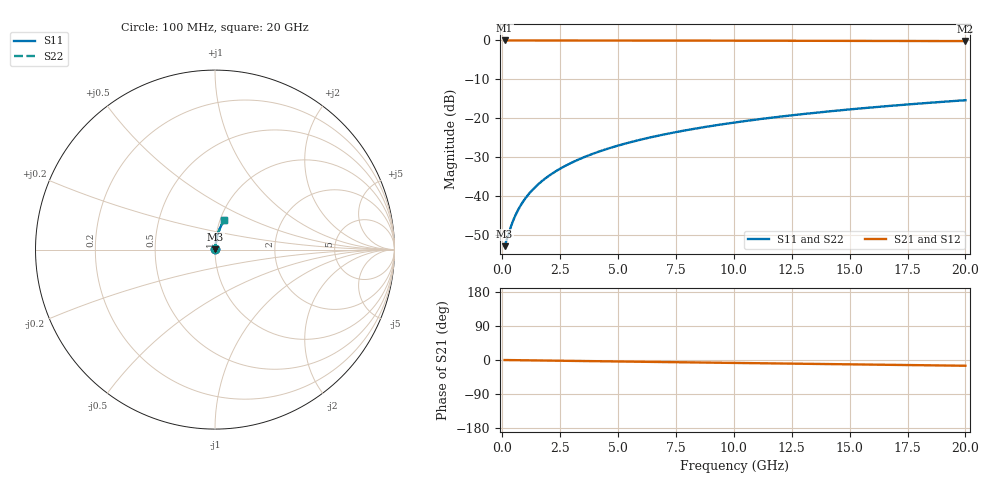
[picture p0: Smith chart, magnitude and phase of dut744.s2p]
! Touchstone file exported from HFSS 2026.1.0
!  File:  C:/ffzhzh/LocalFiles/Ansys_Project_Files/temp_train_TMRDL_744_1783155145_43440.aedt
!  Generated:  04:53:45 PM Jul  4, 2026
!  Design:  TMRDL
!  Project:  temp_train_TMRDL_744_1783155145_43440
! Variables:
!  h_bsmrdl = 2um
!  h_ox = 20um
!  h_rdl = 5um
!  h_sub = 80um
!  h_tmrdl = 2.93um
!  h_tsv = 80um
!  h_via = 3um
!  l_bsmrdl = 300um
!  l_sub = 584.22um
!  l_tmrdl = 184.22um
!  m_sub = 200um
!  pitch = 32.44um
!  r_tsv = 6um
!  s_tmrdl = 10um
!  w_bsmrdl = 18um
!  w_sub = 500um
!  w_tmrdl = 11.67um
!  x_tsv_center1 = 190.055um
!  x_tsv_center2 = 508.055um
!  x_tsv_center3 = 703.945um
!  x_tsv_center4 = 1021.945um
!  x_tsv_center5 = 1217.835um
!  x_tsv_center6 = 1535.835um
# GHz S MA R 50.000000
! Terminal data exported
! Port[1] = TM_RDL1_1_T1
! Port[2] = TM_RDL1_1_T2
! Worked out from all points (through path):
!   200 points, 100 MHz to 20 GHz, reference 50 ohm
!   highest |S21| = -0.02 dB at 100 MHz (marker M1); lowest = -0.2 dB at 20 GHz (marker M2)
!   group delay of S21, straight-line fit = 2.11 ps
!   lowest |S11| = -52.8 dB at 100 MHz (marker M3), VSWR 1.00, Z = 50.2 + j0.0955 ohm
!   |S11| at or under -10 dB: start of sweep to end of sweep
!   |S22| runs from -52.8 to -15.3 dB; largest |S21 - S12| = 3.1e-15
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0.1  0.002301 24.4  0.9979 -0.1  0.9979 -0.1  0.002301 24.4
! Gamma 0 0 0 0
! Port Impedance 50 0 50 0
0.3  0.003547 52.5  0.9978 -0.2  0.9978 -0.2  0.003547 52.5
0.4  0.004332 59.5  0.9978 -0.3  0.9978 -0.3  0.004331 59.5
0.5  0.005156 64.3  0.9978 -0.4  0.9978 -0.4  0.005156 64.3
0.6  0.006002 67.6  0.9977 -0.5  0.9977 -0.5  0.006002 67.6
0.7  0.00686 70.2  0.9977 -0.6  0.9977 -0.6  0.00686 70.2
0.9  0.008594 73.6  0.9976 -0.7  0.9976 -0.7  0.008594 73.6
1.2  0.01122 76.8  0.9975 -0.9  0.9975 -0.9  0.01122 76.8
1.4  0.01297 78.1  0.9975 -1.1  0.9975 -1.1  0.01297 78.1
1.7  0.01561 79.5  0.9974 -1.3  0.9974 -1.3  0.01561 79.5
2.2  0.02003 81.0  0.9972 -1.7  0.9972 -1.7  0.02003 81.0
2.8  0.02534 81.8  0.997 -2.2  0.997 -2.2  0.02534 81.8
3.5  0.03154 82.3  0.9968 -2.7  0.9968 -2.7  0.03154 82.3
4.2  0.03773 82.4  0.9964 -3.3  0.9964 -3.3  0.03773 82.4
5  0.0448 82.3  0.996 -3.9  0.996 -3.9  0.0448 82.3
5.9  0.05272 82.0  0.9955 -4.6  0.9955 -4.6  0.05272 82.0
6.8  0.0606 81.6  0.9948 -5.3  0.9948 -5.3  0.0606 81.6
8.3  0.07365 80.7  0.9936 -6.4  0.9936 -6.4  0.07365 80.7
10.1  0.08914 79.6  0.9919 -7.8  0.9919 -7.8  0.08914 79.6
13.4  0.1171 77.3  0.9883 -10.3  0.9883 -10.3  0.1171 77.3
16.7  0.1443 75.0  0.984 -12.7  0.984 -12.7  0.1443 75.0
20  0.171 72.8  0.9791 -15.2  0.9791 -15.2  0.171 72.8
